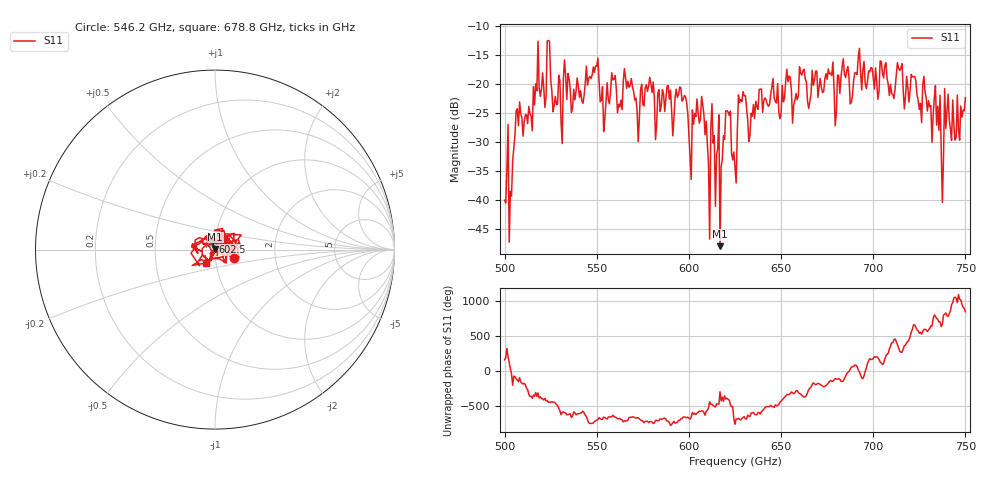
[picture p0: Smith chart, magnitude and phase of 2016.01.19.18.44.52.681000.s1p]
!Created with skrf (http://scikit-rf.org).
# GHz S RI R 50.0
!freq ReS11 ImS11
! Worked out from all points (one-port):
!   401 points, 500 GHz to 750 GHz, reference 50 ohm
!   lowest |S11| = -48.0 dB at 616.9 GHz (marker M1), VSWR 1.01, Z = 50.2 + j0.365 ohm
!   |S11| at or under -10 dB: start of sweep to end of sweep
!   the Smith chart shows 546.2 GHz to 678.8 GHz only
!   S11 on the Smith chart (normalised r, x): 546.2 GHz: 1.23, -0.12; 602.5 GHz: 0.97, +0.08; 678.8 GHz: 0.90, -0.14
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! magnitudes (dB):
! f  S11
! 500 GHz  -40.1
! 503.8 GHz  -39.3
! 507.5 GHz  -27.2
! 513.8 GHz  -25.1
! 523.8 GHz  -12.5
! 526.9 GHz  -23.7
! 531.2 GHz  -30.3
! 546.2 GHz  -18.7
! 562.5 GHz  -24.0
! 565.6 GHz  -19.0
! 593.8 GHz  -22.3
! 602.5 GHz  -27.0
! 608.1 GHz  -25.3
! 610 GHz  -30.3
! 616.9 GHz  -48.0
! 621.2 GHz  -24.8
! 625 GHz  -34.5
! 628.1 GHz  -22.7
! 633.1 GHz  -28.8
! 656.2 GHz  -26.8
! 661.2 GHz  -18.5
! 678.8 GHz  -20.9
! 687.5 GHz  -23.4
! 718.8 GHz  -20.5
! 735 GHz  -23.8
! 736.9 GHz  -30.8
! 740 GHz  -24.8
! 750 GHz  -22.4
